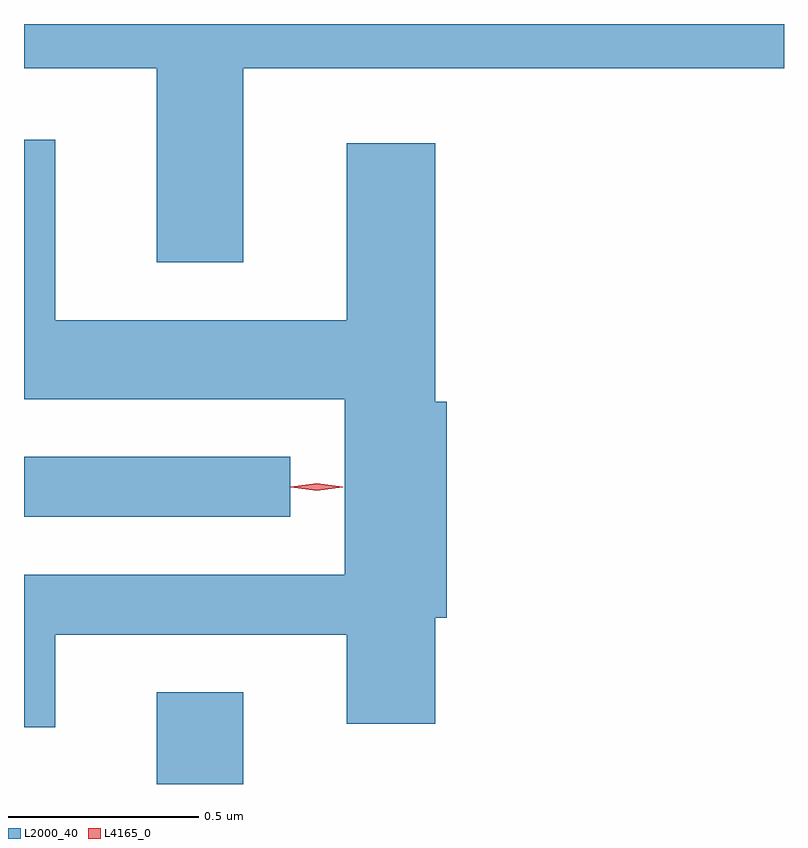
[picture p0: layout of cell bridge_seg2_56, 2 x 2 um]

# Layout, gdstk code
import gdstk
lib = gdstk.Library(unit=1e-6, precision=1e-09)
def R(c, l, rs):  # rectangles x0, y0, x1, y1
    for r in rs: c.add(gdstk.rectangle(r[:2], r[2:], *l))
def P(c, l, *ps):  # polygons
    for p in ps: c.add(gdstk.Polygon(p, *l))
L2000_40 = (2000, 40)
L4165_0 = (4165, 0)

bridge_seg2_56 = lib.new_cell('bridge_seg2_56')
R(bridge_seg2_56, L2000_40, [(1269.631,1059.753,1269.859,1059.994), (1269.282,1060.456,1269.983,1060.614)])
P(bridge_seg2_56, L2000_40, [(1269.859,1061.636),(1271.282,1061.636),(1271.282,1061.753),(1269.282,1061.753),(1269.282,1061.636),(1269.631,1061.636),(1269.631,1061.126),(1269.859,1061.126)],
  [(1269.364,1060.146),(1270.131,1060.146),(1270.131,1059.911),(1270.364,1059.911),(1270.364,1060.191),(1270.394,1060.191),(1270.394,1060.759),(1270.364,1060.759),(1270.364,1061.439),(1270.131,1061.439),(1270.131,1060.974),(1269.364,1060.974),(1269.364,1061.448),(1269.282,1061.448),(1269.282,1060.766),(1270.126,1060.766),(1270.126,1060.304),(1269.282,1060.304),(1269.282,1059.903),(1269.364,1059.903)])
P(bridge_seg2_56, L4165_0, [(1270.053,1060.525),(1269.984,1060.534),(1269.984,1060.535),(1269.984,1060.535),(1270.053,1060.545),(1270.121,1060.535),(1270.122,1060.534),(1270.121,1060.534)],
  [(1270.052,1060.525),(1269.987,1060.534),(1269.987,1060.535),(1269.987,1060.535),(1270.052,1060.545),(1270.117,1060.535),(1270.117,1060.535),(1270.117,1060.534)])

lib.write_gds('bridge_seg2_56.gds')
